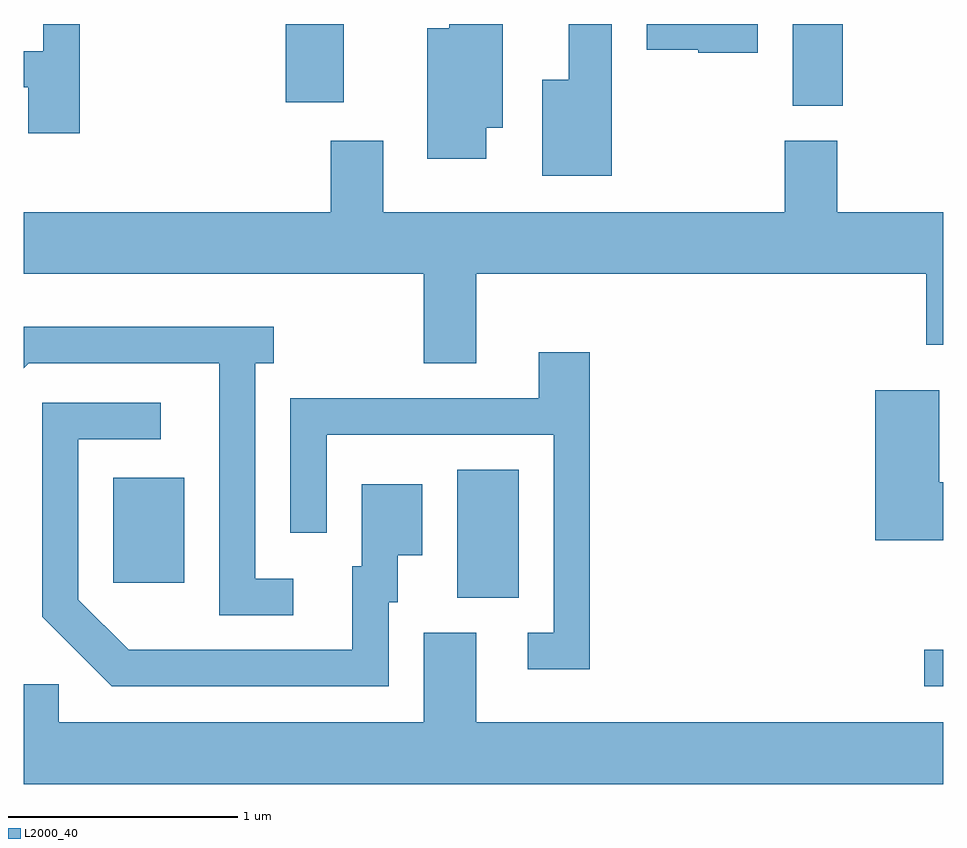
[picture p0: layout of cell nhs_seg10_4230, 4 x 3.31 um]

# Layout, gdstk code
import gdstk
lib = gdstk.Library(unit=1e-6, precision=1e-09)
def R(c, l, rs):  # rectangles x0, y0, x1, y1
    for r in rs: c.add(gdstk.rectangle(r[:2], r[2:], *l))
def P(c, l, *ps):  # polygons
    for p in ps: c.add(gdstk.Polygon(p, *l))
L2000_40 = (2000, 40)

nhs_seg10_4230 = lib.new_cell('nhs_seg10_4230')
R(nhs_seg10_4230, L2000_40, [(313.528,2147.641,313.611,2147.799), (311.496,2148.026,311.764,2148.584), (310.001,2148.091,310.309,2148.549), (312.956,2150.166,313.174,2150.522), (310.751,2150.181,311.004,2150.522)])
P(nhs_seg10_4230, L2000_40, [(311.624,2150.071),(311.694,2150.071),(311.694,2150.522),(311.461,2150.522),(311.461,2150.504),(311.366,2150.504),(311.366,2149.936),(311.624,2149.936)],
  [(312.804,2150.522),(312.321,2150.522),(312.321,2150.411),(312.545,2150.411),(312.545,2150.396),(312.804,2150.396)],
  [(312.169,2150.522),(311.981,2150.522),(311.981,2150.279),(311.866,2150.279),(311.866,2149.861),(312.169,2149.861)],
  [(309.854,2150.522),(309.696,2150.522),(309.696,2150.404),(309.611,2150.404),(309.611,2150.246),(309.631,2150.246),(309.631,2150.046),(309.854,2150.046)],
  [(311.579,2149.436),(313.536,2149.436),(313.536,2149.126),(313.611,2149.126),(313.611,2149.704),(313.149,2149.704),(313.149,2150.014),(312.921,2150.014),(312.921,2149.704),(311.174,2149.704),(311.174,2150.014),(310.946,2150.014),(310.946,2149.704),(309.611,2149.704),(309.611,2149.436),(311.351,2149.436),(311.351,2149.046),(311.579,2149.046)],
  [(310.783,2148.109),(310.619,2148.109),(310.619,2149.046),(310.698,2149.046),(310.698,2149.204),(309.611,2149.204),(309.611,2149.025),(309.632,2149.046),(310.461,2149.046),(310.461,2147.951),(310.783,2147.951)],
  [(312.074,2149.094),(311.851,2149.094),(311.851,2148.894),(310.771,2148.894),(310.771,2148.308),(310.929,2148.308),(310.929,2148.736),(311.916,2148.736),(311.916,2147.874),(311.803,2147.874),(311.803,2147.716),(312.074,2147.716)],
  [(313.611,2148.529),(313.594,2148.529),(313.594,2148.929),(313.316,2148.929),(313.316,2148.276),(313.611,2148.276)],
  [(311.199,2148.006),(311.239,2148.006),(311.239,2148.211),(311.344,2148.211),(311.344,2148.519),(311.081,2148.519),(311.081,2148.164),(311.041,2148.164),(311.041,2147.799),(310.067,2147.799),(309.849,2148.017),(309.849,2148.716),(310.208,2148.716),(310.208,2148.874),(309.691,2148.874),(309.691,2147.944),(309.994,2147.641),(311.199,2147.641)],
  [(313.611,2147.484),(311.579,2147.484),(311.579,2147.874),(311.351,2147.874),(311.351,2147.484),(309.764,2147.484),(309.764,2147.649),(309.611,2147.649),(309.611,2147.216),(313.611,2147.216)])

lib.write_gds('nhs_seg10_4230.gds')
